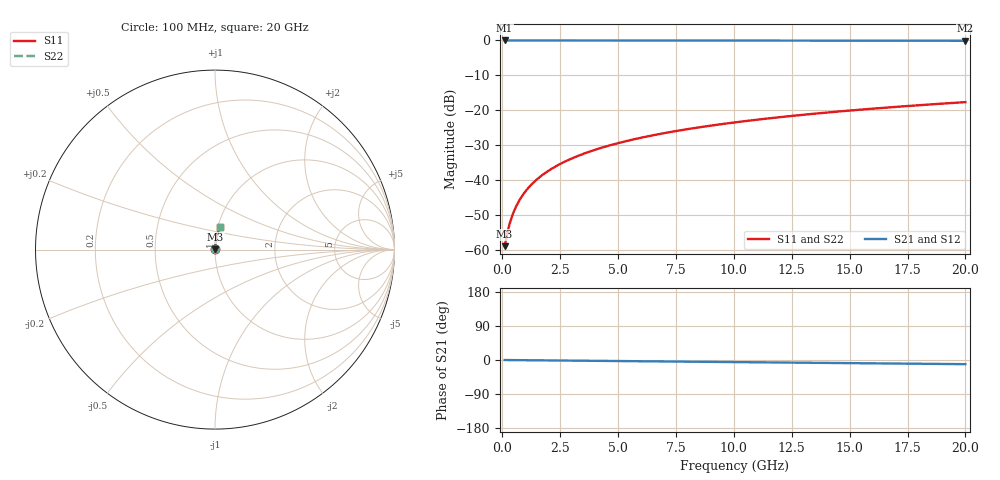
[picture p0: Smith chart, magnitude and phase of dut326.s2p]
! Touchstone file exported from HFSS 2026.1.0
!  File:  C:/ffzhzh/LocalFiles/Ansys_Project_Files/temp_train_TSV_326_1783018460_46388.aedt
!  Generated:  02:56:50 AM Jul  3, 2026
!  Design:  TSV
!  Project:  temp_train_TSV_326_1783018460_46388
! Variables:
!  h_bsmrdl = 2um
!  h_ox = 20um
!  h_rdl = 5um
!  h_sub = 73.51um
!  h_tmrdl = 5um
!  h_tsv = 73.51um
!  h_via = 3um
!  l_bsmrdl = 300um
!  l_sub = 406.22um
!  l_tmrdl = 200um
!  m_sub = 200um
!  pitch = 53.37um
!  r_tsv = 3.11um
!  s_tmrdl = 10um
!  w_bsmrdl = 18um
!  w_sub = 500um
!  w_tmrdl = 12um
!  x_tsv_center1 = 206um
!  x_tsv_center2 = 524um
!  x_tsv_center3 = 736um
!  x_tsv_center4 = 1054um
!  x_tsv_center5 = 1266um
!  x_tsv_center6 = 1584um
# GHz S MA R 50.000000
! Terminal data exported
! Port[1] = TSV1_1_T1
! Port[2] = TSV1_1_T2
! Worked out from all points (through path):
!   200 points, 100 MHz to 20 GHz, reference 50 ohm
!   highest |S21| = -0.01 dB at 100 MHz (marker M1); lowest = -0.1 dB at 20 GHz (marker M2)
!   group delay of S21, straight-line fit = 1.52 ps
!   lowest |S11| = -58.9 dB at 100 MHz (marker M3), VSWR 1.00, Z = 50.1 + j0.0691 ohm
!   |S11| at or under -10 dB: start of sweep to end of sweep
!   |S22| runs from -58.9 to -17.7 dB; largest |S21 - S12| = 2.2e-15
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0.1  0.001131 37.6  0.9991 -0.1  0.9991 -0.1  0.001131 37.6
! Gamma 0 0 0 0
! Port Impedance 50 0 50 0
0.2  0.001647 56.7  0.9991 -0.1  0.9991 -0.1  0.001647 56.7
0.3  0.002255 66.0  0.9991 -0.2  0.9991 -0.2  0.002255 66.0
0.4  0.002894 71.3  0.9991 -0.2  0.9991 -0.2  0.002894 71.3
0.5  0.003547 74.6  0.9991 -0.3  0.9991 -0.3  0.003547 74.6
0.6  0.004208 76.9  0.9991 -0.3  0.9991 -0.3  0.004208 76.9
0.8  0.005542 79.8  0.999 -0.5  0.999 -0.5  0.005542 79.8
1.1  0.007557 82.1  0.999 -0.6  0.999 -0.6  0.007557 82.1
1.5  0.01026 83.7  0.999 -0.8  0.999 -0.8  0.01026 83.7
1.8  0.01228 84.3  0.9989 -1.0  0.9989 -1.0  0.01228 84.3
2.1  0.01431 84.7  0.9989 -1.2  0.9989 -1.2  0.01431 84.7
2.7  0.01836 85.1  0.9987 -1.5  0.9987 -1.5  0.01836 85.1
3.5  0.02375 85.2  0.9985 -2.0  0.9985 -2.0  0.02375 85.2
4.2  0.02845 85.1  0.9983 -2.4  0.9983 -2.4  0.02845 85.1
5  0.0338 84.9  0.9981 -2.8  0.9981 -2.8  0.0338 84.9
5.9  0.03979 84.5  0.9977 -3.3  0.9977 -3.3  0.03979 84.5
6.8  0.04575 84.2  0.9973 -3.8  0.9973 -3.8  0.04575 84.2
8.3  0.05563 83.5  0.9966 -4.6  0.9966 -4.6  0.05563 83.5
10.1  0.06739 82.6  0.9957 -5.6  0.9957 -5.6  0.06739 82.6
13.4  0.08876 81.0  0.9936 -7.4  0.9936 -7.4  0.08876 81.0
16.7  0.1099 79.4  0.9912 -9.2  0.9912 -9.2  0.1099 79.4
20  0.1307 77.7  0.9884 -11.0  0.9884 -11.0  0.1307 77.7
